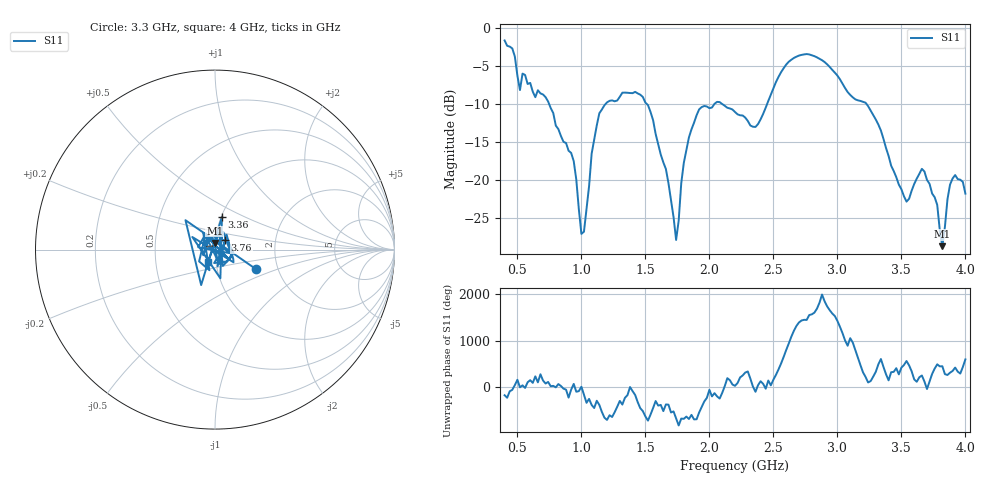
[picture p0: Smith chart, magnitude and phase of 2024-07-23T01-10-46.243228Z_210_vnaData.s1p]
!Created with skrf (http://scikit-rf.org).
# Hz S RI R 50.0
!freq ReS11 ImS11
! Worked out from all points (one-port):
!   181 points, 400 MHz to 4 GHz, reference 50 ohm
!   lowest |S11| = -28.6 dB at 3.82 GHz (marker M1), VSWR 1.08, Z = 49.7 + j3.68 ohm
!   |S11| at or under -10 dB: 748.1 MHz to 1.188 GHz (439.9 MHz wide, 45.4 % of centre); 1.512 GHz to 2.038 GHz (526 MHz wide, 29.6 % of centre); 3.228 GHz to end of sweep (the widest 3 of 4)
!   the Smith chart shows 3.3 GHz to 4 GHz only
!   S11 on the Smith chart (normalised r, x): 3.3 GHz: 1.54, -0.35; 3.36 GHz: 1.01, +0.38; 3.76 GHz: 1.11, +0.12; 4 GHz: 0.91, -0.13
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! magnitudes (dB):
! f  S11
! 400 MHz  -1.6
! 480 MHz  -3.8
! 520 MHz  -8.2
! 540 MHz  -6.0
! 720 MHz  -9.1
! 860 MHz  -14.9
! 940 MHz  -17.5
! 1 GHz  -27.0
! 1.14 GHz  -11.2
! 1.3 GHz  -9.0
! 1.52 GHz  -10.1
! 1.66 GHz  -18.5
! 1.74 GHz  -27.8
! 1.76 GHz  -25.3
! 1.8 GHz  -17.7
! 1.92 GHz  -10.7
! 2.2 GHz  -11.0
! 2.36 GHz  -13.0
! 2.66 GHz  -3.9
! 3.1 GHz  -8.8
! 3.3 GHz  -12.0
! 3.36 GHz  -14.6
! 3.56 GHz  -22.4
! 3.66 GHz  -18.5
! 3.76 GHz  -22.2
! 3.82 GHz  -28.6
! 3.9 GHz  -19.8
! 4 GHz  -21.7
